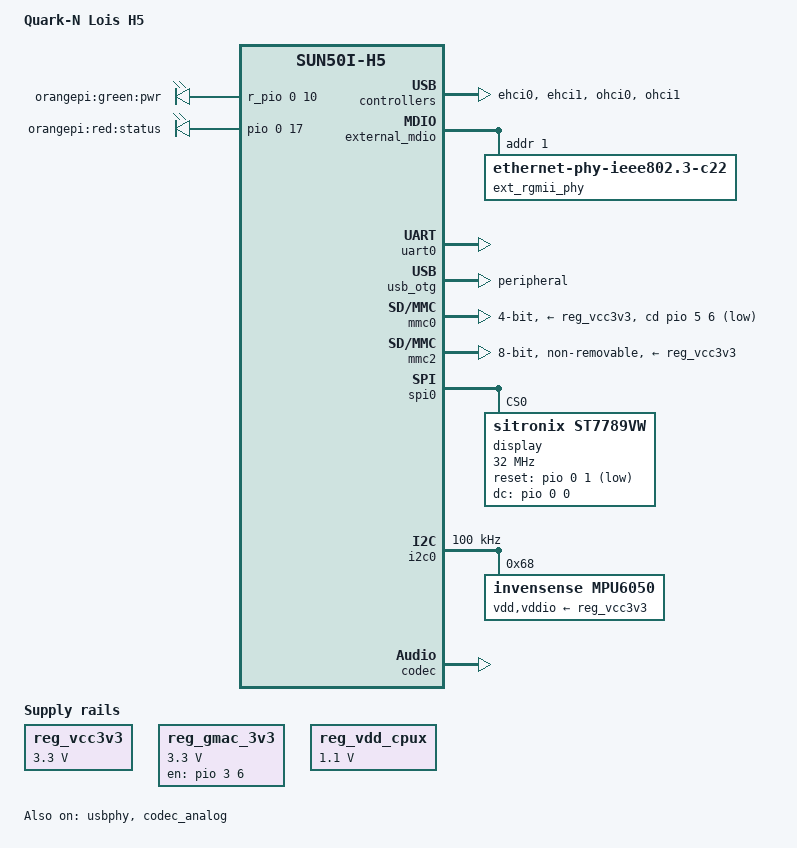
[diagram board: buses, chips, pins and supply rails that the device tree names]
// SPDX-License-Identifier: (GPL-2.0+ OR MIT)
// Copyright (C) 2016 ARM Ltd.
// Copyright (C) 2018 Hauke Mehrtens <hauke@hauke-m.de>

/dts-v1/;
#include "sun50i-h5.dtsi"
#include "sun50i-h5-cpu-opp.dtsi"

#include <dt-bindings/gpio/gpio.h>
#include <dt-bindings/input/input.h>
#include <dt-bindings/pinctrl/sun4i-a10.h>
#include <dt-bindings/thermal/thermal.h>

/ {
	model = "Quark-N Lois H5";
	compatible = "Lois,Quark-N-h5", "allwinner,sun50i-h5";

	aliases {
		serial0 = &uart0;
		serial1 = &uart1;
        serial2 = &uart2;
        serial3 = &uart3;
		spi0 = &spi0;
		spi1 = &spi1;
		i2c0 = &i2c0;
		i2c1 = &i2c1;
        i2c2 = &i2c2;
		mmc0 = &mmc0;
        mmc2 = &mmc2;
		i2s0 = &i2s0;
		pcm5102a = &pcm5102a;
	};

	chosen {
		stdout-path = "serial0:115200n8";
		/*
		 * 240x135 小屏：只画 1 个企鹅，并居中。
		 * 若 /boot.scr 覆盖了 bootargs，请在脚本里同样加上：
		 *   fbcon=logo-count:1 fbcon=logo-pos:center
		 * （或合并写：fbcon=logo-count:1,logo-pos:center —— 取决于脚本拼接方式；
		 *  推荐两个 fbcon= 参数或一个里用空格分隔的 options，见下。）
		 */
		bootargs = "console=ttyS0,115200 root=/dev/mmcblk0p2 rootwait panic=10 fbcon=logo-count:1,logo-pos:center";
	};

	reg_vcc3v3: vcc3v3 {
		compatible = "regulator-fixed";
		regulator-name = "vcc3v3";
		regulator-min-microvolt = <3300000>;
		regulator-max-microvolt = <3300000>;
	};

	leds {
		compatible = "gpio-leds";

		led-0 {
			label = "orangepi:green:pwr";
			gpios = <&r_pio 0 10 GPIO_ACTIVE_HIGH>; /* PA10 */
			default-state = "on";
		};

		led-1 {
			label = "orangepi:red:status";
			gpios = <&pio 0 17 GPIO_ACTIVE_HIGH>; /* PA17 */
		};
	};

	reg_gmac_3v3: gmac-3v3 {
		compatible = "regulator-fixed";
		regulator-name = "gmac-3v3";
		regulator-min-microvolt = <3300000>;
		regulator-max-microvolt = <3300000>;
		startup-delay-us = <100000>;
		enable-active-high;
		gpio = <&pio 3 6 GPIO_ACTIVE_HIGH>; /* PD6 */
	};
	pcm5102a: pcm5102a-codec {
        #sound-dai-cells = <0>;
        compatible = "ti,pcm5102a";
        status = "disabled";
    };

    sound_i2s {
        compatible = "simple-audio-card";
        simple-audio-card,name = "I2S-master";
        simple-audio-card,mclk-fs = <256>;
        simple-audio-card,format = "i2s";
        status = "disabled";

        simple-audio-card,cpu {
            sound-dai = <&i2s0>;
        };

        simple-audio-card,codec {
            sound-dai = <&pcm5102a>;
        };
    };

	/*
	 * CPU 电压固定 1.1V（PL8 只有一档）。
	 * 高于 1008MHz 的 OPP 需要 1.24V 以上，在 opp 表里关掉。
	 */
	reg_vdd_cpux: vdd_cpux {
		compatible = "regulator-gpio";
		regulator-name = "vdd_cpux";
		regulator-min-microvolt = <1100000>;
		regulator-max-microvolt = <1100000>;
		gpios = <&r_pio 0 8 GPIO_ACTIVE_HIGH>; /* PL8 */
		states = <1100000 0x1>;
		regulator-always-on;
		regulator-boot-on;
	};
};

&ehci0 {
	status = "okay";
};

&ehci1 {
	status = "okay";
};

&external_mdio {
	ext_rgmii_phy: ethernet-phy@1 {
		compatible = "ethernet-phy-ieee802.3-c22";
		reg = <1>;
	};
};

&ohci0 {
	status = "okay";
};

&ohci1 {
	status = "okay";
};

&uart0 {
	pinctrl-names = "default";
	pinctrl-0 = <&uart0_pa_pins>;
	status = "okay";
};

&usb_otg {
	dr_mode = "peripheral";
	status = "okay";
};

&usbphy {
	/* USB Type-A ports' VBUS is always on */
	usb0_id_det-gpios = <&pio 6 12 GPIO_ACTIVE_HIGH>; /* PG12 */
	status = "okay";
};

/* SD card — missing previously caused: Waiting for root device /dev/mmcblk0p2 */
&mmc0 {
    pinctrl-names = "default";
    linux,phandle = <0x20>;
    pinctrl-0 = <&mmc0_pins>;
    cd-gpios = <&pio 5 6 GPIO_ACTIVE_LOW>; /* PF6 */
    vmmc-supply = <&reg_vcc3v3>;
    bus-width = <4>;
    boot_device = <0>;
    removable = <1>;
    // cd-inverted;
    cap-sd-highspeed;
    mmc-driver-type = <0>;
    status = "okay";
};

&mmc2 {
    linux,phandle = <0x10>;
	pinctrl-names = "default";
	pinctrl-0 = <&mmc2_8bit_pins>;
	vmmc-supply = <&reg_vcc3v3>;
    clock-frequency = <52000000>;
	bus-width = <8>;
    mmc-driver-type = <1>;
	non-removable;
	cap-mmc-hw-reset;
	boot_device = <0>;
	status = "okay";
};

/* add for Lois */
&spi0 {
	status = "okay";
	u-boot,dm-pre-reloc;
	bootph-all;
	pinctrl-names = "default";
	pinctrl-0 = <&spi0_pins>;
	#address-cells = <1>;
	#size-cells = <0>;

	/*
	 * IPS 1.14" 240x135 ST7789VW — same as linux_card:
	 * fb_st7789vw, MADCTL 0x70, offset 40/53, no BGR
	 */
	display@0 {
		compatible = "sitronix,st7789vw", "sitronix,st7789v";
		reg = <0>;
		status = "okay";
		spi-max-frequency = <32000000>;
		buswidth = <8>;
		rotate = <0>;
		fps = <33>;
		reset-gpios = <&pio 0 1 GPIO_ACTIVE_LOW>;
		dc-gpios = <&pio 0 0 GPIO_ACTIVE_HIGH>;
		debug = <0>;

		/* U-Boot-only */
		col-offset = <53>;
		row-offset = <40>;
		rotation = <90>;

		u-boot,dm-pre-reloc;
		bootph-all;
	};
};

/* MPU6050 on TWI0: PA11=SCL, PA12=SDA. AD0 low -> address 0x68. */
&i2c0 {
	status = "okay";
    #size-cells = <0>;
    #address-cells = <1>;
	clock-frequency = <100000>;
	mpu6050@68 {
		compatible = "invensense,mpu6050";
		reg = <0x68>;
		vdd-supply = <&reg_vcc3v3>;
		vddio-supply = <&reg_vcc3v3>;
	};
};

&i2s0 {
    sound-dai = <&pcm5102a>;
    status = "disabled";
};


&codec {
    compatible = "allwinner,sun8i-h3-codec";
    #sound-dai-cells = <0>;
    allwinner,audio-routing =
        "Line Out", "LINEOUT",
        "MIC1", "Mic",
        "Mic",  "MBIAS";
    status = "okay";
};

&codec_analog {
    status = "okay";
};

/*
 * 覆盖 sun50i-h5-cpu-opp.dtsi。
 * 使能的 6 档全部锁在 1.1V，和固定电压调节器一致。
 * cpufreq cooling state 0 是最高频率，数字越大频率越低：
 *   0:1008  1:960  2:912  3:816  4:648  5:408 MHz
 * 1056/1104/1152MHz 需要更高电压，保持 disabled。
 */
&cpu_opp_table {
	compatible = "operating-points-v2";
	opp-shared;

	opp-408000000 {
		opp-hz = /bits/ 64 <408000000>;
		opp-microvolt = <1100000>;
		clock-latency-ns = <244144>; /* 8 32k periods */
	};

	opp-648000000 {
		opp-hz = /bits/ 64 <648000000>;
		opp-microvolt = <1100000>;
		clock-latency-ns = <244144>; /* 8 32k periods */
	};

	opp-816000000 {
		opp-hz = /bits/ 64 <816000000>;
		opp-microvolt = <1100000>;
		clock-latency-ns = <244144>; /* 8 32k periods */
	};

	opp-912000000 {
		opp-hz = /bits/ 64 <912000000>;
		opp-microvolt = <1100000>;
		clock-latency-ns = <244144>; /* 8 32k periods */
	};

	opp-960000000 {
		opp-hz = /bits/ 64 <960000000>;
		opp-microvolt = <1100000>;
		clock-latency-ns = <244144>; /* 8 32k periods */
	};

	opp-1008000000 {
		opp-hz = /bits/ 64 <1008000000>;
		opp-microvolt = <1100000>;
		clock-latency-ns = <244144>; /* 8 32k periods */
	};

	opp-1056000000 {
		status = "disabled";
		opp-hz = /bits/ 64 <1056000000>;
		opp-microvolt = <1240000 1240000 1310000>;
		clock-latency-ns = <244144>; /* 8 32k periods */
	};

	opp-1104000000 {
		status = "disabled";
		opp-hz = /bits/ 64 <1104000000>;
		opp-microvolt = <1260000 1260000 1310000>;
		clock-latency-ns = <244144>; /* 8 32k periods */
	};

	opp-1152000000 {
		status = "disabled";
		opp-hz = /bits/ 64 <1152000000>;
		opp-microvolt = <1300000 1300000 1310000>;
		clock-latency-ns = <244144>; /* 8 32k periods */
	};
};

&cpu0 {
	clock-names = "cpu";
	clocks = <&ccu CLK_CPUX>;
	cpu-supply = <&reg_vdd_cpux>;
	operating-points-v2 = <&cpu_opp_table>;
};

&cpu1 {
	clock-names = "cpu";
	clocks = <&ccu CLK_CPUX>;
	cpu-supply = <&reg_vdd_cpux>;
	operating-points-v2 = <&cpu_opp_table>;
};

&cpu2 {
	clock-names = "cpu";
	clocks = <&ccu CLK_CPUX>;
	cpu-supply = <&reg_vdd_cpux>;
	operating-points-v2 = <&cpu_opp_table>;
};

&cpu3 {
	clock-names = "cpu";
	clocks = <&ccu CLK_CPUX>;
	cpu-supply = <&reg_vdd_cpux>;
	operating-points-v2 = <&cpu_opp_table>;
};

&cpu_thermal {
	polling-delay = <1000>;
	polling-delay-passive = <200>;
	thermal-sensors = <&ths 0>;

	/* 去掉公共 dtsi 的 80°C passive / 100°C critical，只保留这套降频策略 */
	/delete-node/ trips;
	/delete-node/ cooling-maps;

	trips {
		cpu_warm: cpu_warm {
			temperature = <55000>;
			hysteresis = <5000>;
			type = "passive";
		};
		cpu_hot: cpu_hot {
			temperature = <62000>;
			hysteresis = <5000>;
			type = "passive";
		};
		cpu_very_hot: cpu_very_hot {
			temperature = <70000>;
			hysteresis = <5000>;
			type = "passive";
		};
		cpu_extreme: cpu_extreme {
			temperature = <76000>;
			hysteresis = <5000>;
			type = "passive";
		};
		cpu_crit: cpu_crit {
			temperature = <80000>;
			hysteresis = <0>;
			type = "critical";
		};
	};

	cooling-maps {
		/* state >= 3：最高 816MHz */
		cpu_warm_limit_cpu {
			trip = <&cpu_warm>;
			cooling-device = <&cpu0 3 THERMAL_NO_LIMIT>,
					 <&cpu1 3 THERMAL_NO_LIMIT>,
					 <&cpu2 3 THERMAL_NO_LIMIT>,
					 <&cpu3 3 THERMAL_NO_LIMIT>;
		};
		/* state >= 4：最高 648MHz */
		cpu_hot_limit_cpu {
			trip = <&cpu_hot>;
			cooling-device = <&cpu0 4 THERMAL_NO_LIMIT>,
					 <&cpu1 4 THERMAL_NO_LIMIT>,
					 <&cpu2 4 THERMAL_NO_LIMIT>,
					 <&cpu3 4 THERMAL_NO_LIMIT>;
		};
		/* state >= 5：锁在 408MHz */
		cpu_very_hot_limit_cpu {
			trip = <&cpu_very_hot>;
			cooling-device = <&cpu0 5 THERMAL_NO_LIMIT>,
					 <&cpu1 5 THERMAL_NO_LIMIT>,
					 <&cpu2 5 THERMAL_NO_LIMIT>,
					 <&cpu3 5 THERMAL_NO_LIMIT>;
		};
		cpu_extreme_limit_cpu {
			trip = <&cpu_extreme>;
			cooling-device = <&cpu0 5 THERMAL_NO_LIMIT>,
					 <&cpu1 5 THERMAL_NO_LIMIT>,
					 <&cpu2 5 THERMAL_NO_LIMIT>,
					 <&cpu3 5 THERMAL_NO_LIMIT>;
		};
	};
};

